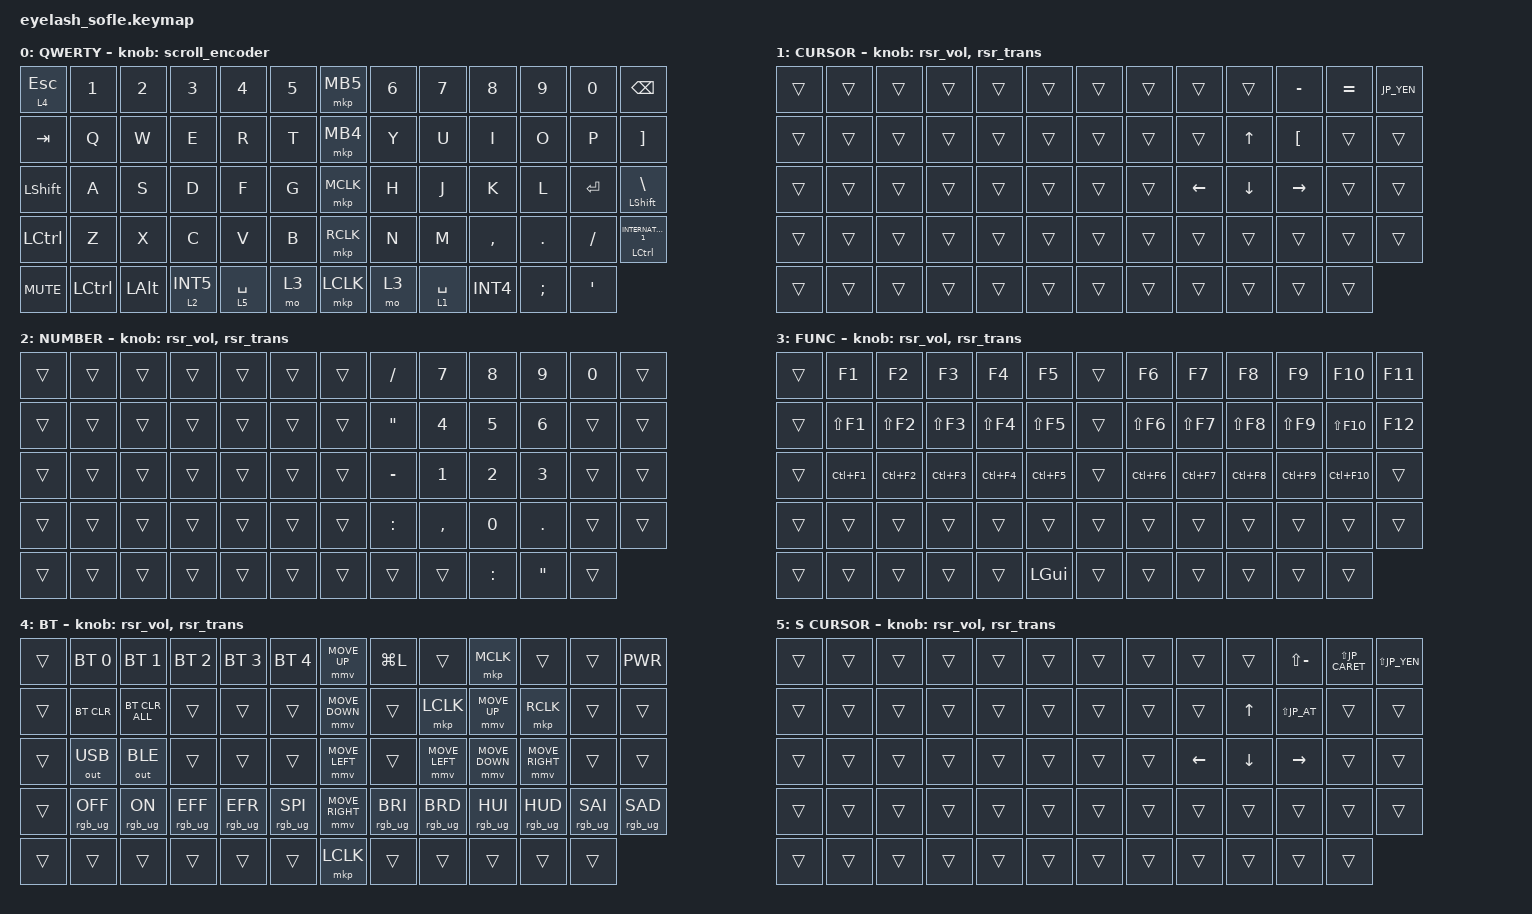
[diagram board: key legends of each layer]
#define ZMK_POINTING_DEFAULT_MOVE_VAL 600
#define ZMK_POINTING_DEFAULT_SCRL_VAL 25

#include <input/processors.dtsi>
#include <zephyr/dt-bindings/input/input-event-codes.h>
#include <behaviors/runtime-sensor-rotate.dtsi>
#include <behaviors.dtsi>
#include <dt-bindings/zmk/bt.h>
#include <dt-bindings/zmk/keys.h>
#include <dt-bindings/zmk/outputs.h>
#include <dt-bindings/zmk/pointing.h>
#include <dt-bindings/zmk/rgb.h>

// OS設定を日本語キーボードのまま使用するための変換定義

#define JP_DQUOTE       AT                // "
#define JP_AMPERSAND    CARET             // &
#define JP_QUOTE        AMPERSAND         // '
#define JP_EQUAL        UNDER             // =
#define JP_CARET        EQUAL             // ^
#define JP_YEN          0x89              // ¥
#define JP_PLUS         COLON             // +
#define JP_TILDE        PLUS              // ~
#define JP_PIPE         LS(0x89)          // |
#define JP_AT           LEFT_BRACKET      // @
#define JP_COLON        SINGLE_QUOTE      // :
#define JP_ASTERISK     DOUBLE_QUOTES     // *
#define JP_BACKQUOTE    LEFT_BRACE        // `
#define JP_UNDERSCORE   LS(0x87)          // _
#define JP_LBRACKET     RIGHT_BRACKET     // [
#define JP_RBRACKET     BACKSLASH         // ]
#define JP_LPAREN       ASTERISK          // (
#define JP_RPAREN       LEFT_PARENTHESIS  // )
#define JP_LBRACE       RIGHT_BRACE       // {
#define JP_RBRACE       PIPE              // }
#define JP_KANA         LANGUAGE_1        // かな
#define JP_EISU         LANGUAGE_2        // 英数
#define JP_HANZEN       GRAVE             // 半角/全角
#define JP_BSLH         INTERNATIONAL_1   // ろ（右下の \ と _ のキー）

&mmv_input_listener { input-processors = <&zip_xy_scaler 2 1>; };

&msc_input_listener { input-processors = <&zip_scroll_scaler 2 1>; };

&msc {
    acceleration-exponent = <1>;      // 0
    time-to-max-speed-ms = <100>;       // 300
    delay-ms = <0>;                   // 0
};

&mmv {
    time-to-max-speed-ms = <500>;
    acceleration-exponent = <1>;
    trigger-period-ms = <16>;
};

&soft_off { hold-time-ms = <2000>; };

/ {
    scroll_encoder: scroll_encoder {
        compatible = "zmk,behavior-sensor-rotate";
        #sensor-binding-cells = <0>;
        bindings = <&msc SCRL_DOWN>, <&msc SCRL_UP>;

        tap-ms = <100>;
    };

    macros {
        SHIFT_MCLK: SHIFT_MCLK {
            compatible = "zmk,behavior-macro";
            #binding-cells = <0>;
            bindings =
                <&macro_press>,
                <&kp LEFT_SHIFT>,
                <&macro_press>,
                <&mkp MB3>,
                <&macro_pause_for_release>,
                <&macro_release>,
                <&kp LEFT_SHIFT &mkp MB3>;

            label = "SHIFT_MCLK";
        };
    };

    behaviors {
        rsr_vol: rsr_vol {
            compatible = "zmk,behavior-runtime-sensor-rotate";
            #sensor-binding-cells = <0>;
            tap-ms = <5>;
            cw-binding = <&kp C_VOL_UP>;
            ccw-binding = <&kp C_VOL_DN>;
        };

        rsr_trans: rsr_trans {
            compatible = "zmk,behavior-runtime-sensor-rotate";
            #sensor-binding-cells = <0>;
            tap-ms = <0>;
        };
    };

    combos {
        compatible = "zmk,combos";

        softoff {
            bindings = <&soft_off>;
            key-positions = <14 28 40>;
        };

        minus {
            bindings = <&kp MINUS>;
            key-positions = <22 23>;
        };

        tilde {
            bindings = <&kp JP_TILDE>;
            key-positions = <24 23>;
        };

        pipe {
            bindings = <&kp JP_PIPE>;
            key-positions = <47 34>;
        };

        alt_f4 {
            bindings = <&kp LA(F4)>;
            key-positions = <3 4 5>;
        };

        tab {
            bindings = <&kp TAB>;
            key-positions = <31 30>;
        };

        shift_tab {
            bindings = <&kp LS(TAB)>;
            key-positions = <18 17>;
        };

        f7 {
            bindings = <&kp F7>;
            key-positions = <7 8>;
        };

        f10 {
            bindings = <&kp F10>;
            key-positions = <10 11>;
        };

        enter {
            bindings = <&kp ENTER>;
            key-positions = <24 25>;
        };

        bk2 {
            bindings = <&kp BACKSPACE>;
            key-positions = <12 11>;
        };

        esc {
            bindings = <&kp ESC>;
            key-positions = <0 1>;
        };

        f8 {
            bindings = <&kp F8>;
            key-positions = <8 9>;
        };

        del {
            bindings = <&kp DEL>;
            key-positions = <33 46>;
        };

        win {
            bindings = <&kp LEFT_GUI>;
            key-positions = <53 54>;
        };

        kana {
            bindings = <&kp INT_KATAKANAHIRAGANA>;
            key-positions = <55 61>;
        };
    };

    keymap {
        compatible = "zmk,keymap";

        layer0 {
            bindings = <
&lt 4 ESC   &kp N1     &kp N2        &kp N3      &kp N4       &kp N5    &mkp MB5   &kp N6  &kp N7       &kp N8     &kp N9    &kp N0        &kp BACKSPACE
&kp TAB     &kp Q      &kp W         &kp E       &kp R        &kp T     &mkp MB4   &kp Y   &kp U        &kp I      &kp O     &kp P         &kp JP_LBRACKET
&kp LSHIFT  &kp A      &kp S         &kp D       &kp F        &kp G     &mkp MCLK  &kp H   &kp J        &kp K      &kp L     &kp ENTER     &mt LEFT_SHIFT JP_RBRACKET
&kp LCTRL   &kp Z      &kp X         &kp C       &kp V        &kp B     &mkp RCLK  &kp N   &kp M        &kp COMMA  &kp DOT   &kp SLASH     &mt LEFT_CONTROL JP_BSLH
&kp C_MUTE  &kp LCTRL  &kp LEFT_ALT  &lt 2 INT5  &lt 5 SPACE  &mo 3     &mkp LCLK  &mo 3   &lt 1 SPACE  &kp INT4   &kp SEMI  &kp JP_COLON
            >;

            sensor-bindings = <&scroll_encoder>;
            display-name = "QWERTY";
        };

        layer_1 {
            bindings = <
&trans  &trans  &trans  &trans  &trans  &trans    &trans  &trans  &trans    &trans    &kp MINUS  &kp JP_CARET  &kp JP_YEN
&trans  &trans  &trans  &trans  &trans  &trans    &trans  &trans  &trans    &kp UP    &kp JP_AT  &trans        &trans
&trans  &trans  &trans  &trans  &trans  &trans    &trans  &trans  &kp LEFT  &kp DOWN  &kp RIGHT  &trans        &trans
&trans  &trans  &trans  &trans  &trans  &trans    &trans  &trans  &trans    &trans    &trans     &trans        &trans
&trans  &trans  &trans  &trans  &trans  &trans    &trans  &trans  &trans    &trans    &trans     &trans
            >;

            sensor-bindings = <&rsr_vol &rsr_trans>;
            display-name = "CURSOR";
        };

        layer_2 {
            bindings = <
&trans  &trans  &trans  &trans  &trans  &trans    &trans  &kp SLASH        &kp N7     &kp N8       &kp N9           &kp N0  &trans
&trans  &trans  &trans  &trans  &trans  &trans    &trans  &kp JP_ASTERISK  &kp N4     &kp N5       &kp N6           &trans  &trans
&trans  &trans  &trans  &trans  &trans  &trans    &trans  &kp MINUS        &kp N1     &kp N2       &kp N3           &trans  &trans
&trans  &trans  &trans  &trans  &trans  &trans    &trans  &kp JP_PLUS      &kp COMMA  &kp N0       &kp DOT          &trans  &trans
&trans  &trans  &trans  &trans  &trans  &trans    &trans  &trans           &trans     &kp JP_PLUS  &kp JP_ASTERISK  &trans
            >;

            display-name = "NUMBER";
            sensor-bindings = <&rsr_vol &rsr_trans>;
        };

        layer_3 {
            bindings = <
&trans  &kp F1      &kp F2      &kp F3      &kp F4      &kp F5          &trans  &kp F6      &kp F7      &kp F8      &kp F9      &kp F10      &kp F11
&trans  &kp LS(F1)  &kp LS(F2)  &kp LS(F3)  &kp LS(F4)  &kp LS(F5)      &trans  &kp LS(F6)  &kp LS(F7)  &kp LS(F8)  &kp LS(F9)  &kp LS(F10)  &kp F12
&trans  &kp LC(F1)  &kp LC(F2)  &kp LC(F3)  &kp LC(F4)  &kp LC(F5)      &trans  &kp LC(F6)  &kp LC(F7)  &kp LC(F8)  &kp LC(F9)  &kp LC(F10)  &trans
&trans  &trans      &trans      &trans      &trans      &trans          &trans  &trans      &trans      &trans      &trans      &trans       &trans
&trans  &trans      &trans      &trans      &trans      &kp LEFT_GUI    &trans  &trans      &trans      &trans      &trans      &trans
            >;

            display-name = "FUNC";
            sensor-bindings = <&rsr_vol &rsr_trans>;
        };

        layer_4 {
            bindings = <
&trans  &bt BT_SEL 0     &bt BT_SEL 1    &bt BT_SEL 2     &bt BT_SEL 3     &bt BT_SEL 4       &mmv MOVE_UP     &kp LG(L)        &trans           &mkp MCLK        &trans           &trans           &kp C_PWR
&trans  &bt BT_CLR       &bt BT_CLR_ALL  &trans           &trans           &trans             &mmv MOVE_DOWN   &trans           &mkp LCLK        &mmv MOVE_UP     &mkp RCLK        &trans           &trans
&trans  &out OUT_USB     &out OUT_BLE    &trans           &trans           &trans             &mmv MOVE_LEFT   &trans           &mmv MOVE_LEFT   &mmv MOVE_DOWN   &mmv MOVE_RIGHT  &trans           &trans
&trans  &rgb_ug RGB_OFF  &rgb_ug RGB_ON  &rgb_ug RGB_EFF  &rgb_ug RGB_EFR  &rgb_ug RGB_SPI    &mmv MOVE_RIGHT  &rgb_ug RGB_BRI  &rgb_ug RGB_BRD  &rgb_ug RGB_HUI  &rgb_ug RGB_HUD  &rgb_ug RGB_SAI  &rgb_ug RGB_SAD
&trans  &trans           &trans          &trans           &trans           &trans             &mkp LCLK        &trans           &trans           &trans           &trans           &trans
            >;

            display-name = "BT";
            sensor-bindings = <&rsr_vol &rsr_trans>;
        };

        layer_5 {
            bindings = <
&trans  &trans  &trans  &trans  &trans  &trans    &trans  &trans  &trans    &trans    &kp LS(MINUS)  &kp LS(JP_CARET)  &kp LS(JP_YEN)
&trans  &trans  &trans  &trans  &trans  &trans    &trans  &trans  &trans    &kp UP    &kp LS(JP_AT)  &trans            &trans
&trans  &trans  &trans  &trans  &trans  &trans    &trans  &trans  &kp LEFT  &kp DOWN  &kp RIGHT      &trans            &trans
&trans  &trans  &trans  &trans  &trans  &trans    &trans  &trans  &trans    &trans    &trans         &trans            &trans
&trans  &trans  &trans  &trans  &trans  &trans    &trans  &trans  &trans    &trans    &trans         &trans
            >;

            sensor-bindings = <&rsr_vol &rsr_trans>;
            display-name = "S CURSOR";
        };
    };
};
